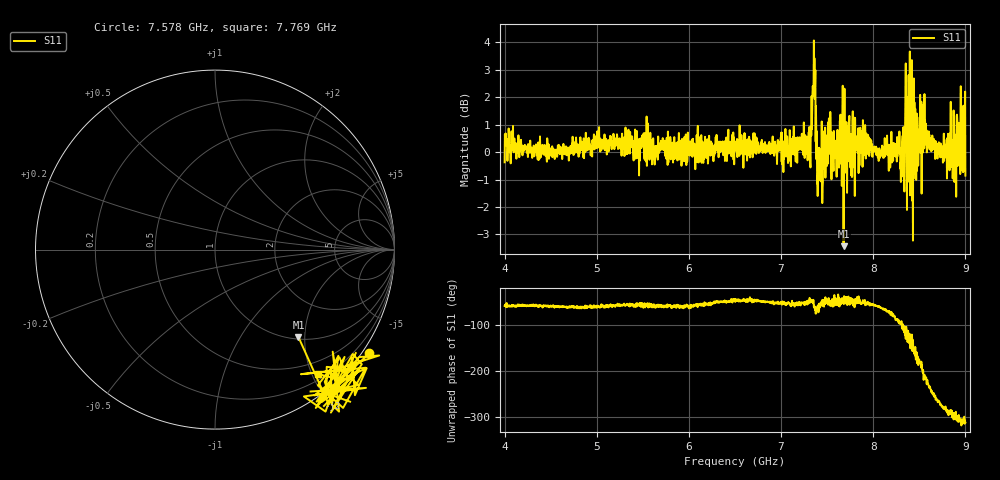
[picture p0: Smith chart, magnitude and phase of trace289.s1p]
! Created with skrf 1.8.0 (http://scikit-rf.org).
# Hz S RI R 50.0
!freq ReS11 ImS11
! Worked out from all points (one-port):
!   1601 points, 4 GHz to 9 GHz, reference 50 ohm
!   lowest |S11| = -3.4 dB at 7.678 GHz (marker M1), VSWR 5.14, Z = 52.1 - j93.1 ohm
!   |S11| at or under -10 dB: nowhere
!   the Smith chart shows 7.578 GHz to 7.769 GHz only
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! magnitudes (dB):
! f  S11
! 4 GHz  -0.4
! 4.097 GHz  0.1
! 4.625 GHz  -0.3
! 5.25 GHz  0.1
! 5.875 GHz  -0.3
! 6.5 GHz  0.2
! 7.125 GHz  0.2
! 7.294 GHz  0.4
! 7.356 GHz  4.1
! 7.4 GHz  -0.8
! 7.412 GHz  0.2
! 7.512 GHz  1.1
! 7.584 GHz  -0.2
! 7.65 GHz  0.0
! 7.678 GHz  -3.4
! 7.703 GHz  -0.7
! 7.75 GHz  0.2
! 8.262 GHz  -0.2
! 8.316 GHz  0.4
! 8.338 GHz  -1.4
! 8.356 GHz  1.5
! 8.375 GHz  -0.3
! 8.412 GHz  0.1
! 8.531 GHz  0.7
! 8.778 GHz  0.0
! 8.875 GHz  0.4
! 8.972 GHz  0.7
! 9 GHz  -0.9
